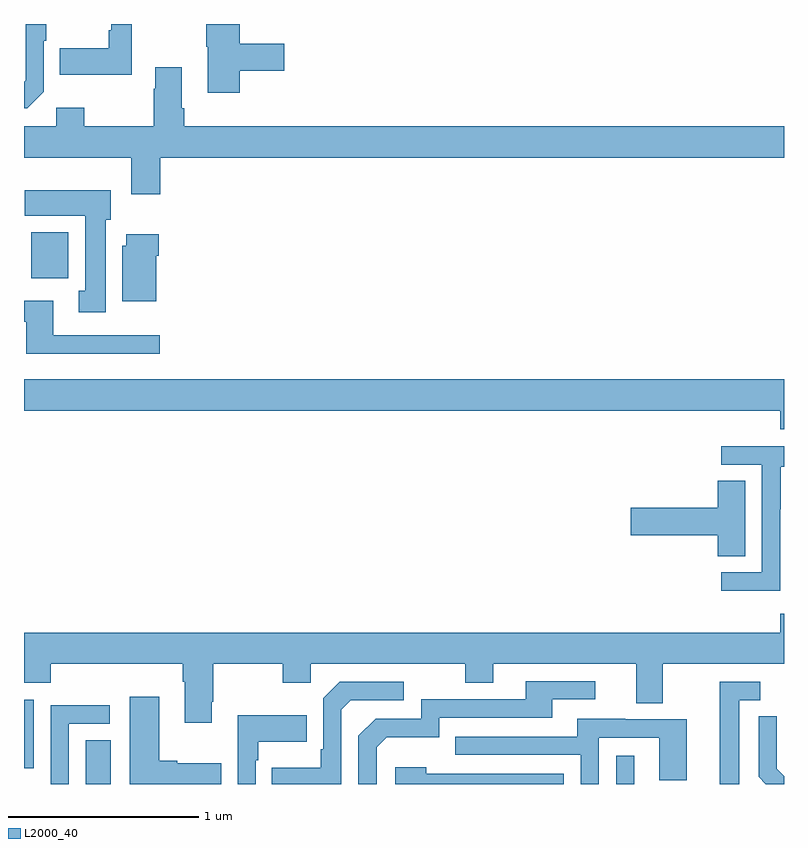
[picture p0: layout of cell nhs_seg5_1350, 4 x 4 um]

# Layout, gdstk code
import gdstk
lib = gdstk.Library(unit=1e-6, precision=1e-09)
def R(c, l, rs):  # rectangles x0, y0, x1, y1
    for r in rs: c.add(gdstk.rectangle(r[:2], r[2:], *l))
def P(c, l, *ps):  # polygons
    for p in ps: c.add(gdstk.Polygon(p, *l))
L2000_40 = (2000, 40)

nhs_seg5_1350 = lib.new_cell('nhs_seg5_1350')
R(nhs_seg5_1350, L2000_40, [(193.325,850.799,193.456,851.03), (196.116,850.799,196.213,850.948), (193,850.881,193.051,851.242), (193.037,853.46,193.234,853.702)])
P(nhs_seg5_1350, L2000_40, [(193.104,854.442),(193.104,854.711),(193.117,854.711),(193.117,854.799),(193.008,854.799),(193.008,854.502),(193,854.494),(193,854.355),(193.017,854.355)],
  [(193.567,854.799),(193.458,854.799),(193.458,854.767),(193.446,854.767),(193.446,854.671),(193.189,854.671),(193.189,854.531),(193.567,854.531)],
  [(194.135,854.554),(194.371,854.554),(194.371,854.696),(194.135,854.696),(194.135,854.799),(193.96,854.799),(193.96,854.679),(193.967,854.679),(193.967,854.436),(194.135,854.436)],
  [(193.718,854.096),(197,854.096),(197,854.26),(193.844,854.26),(193.844,854.356),(193.831,854.356),(193.831,854.572),(193.691,854.572),(193.691,854.459),(193.684,854.459),(193.684,854.26),(193.317,854.26),(193.317,854.359),(193.17,854.359),(193.17,854.26),(193,854.26),(193,854.096),(193.565,854.096),(193.565,853.902),(193.718,853.902)],
  [(193.429,853.77),(193.456,853.77),(193.456,853.924),(193.005,853.924),(193.005,853.79),(193.322,853.79),(193.322,853.394),(193.289,853.394),(193.289,853.281),(193.429,853.281)],
  [(193.696,853.58),(193.709,853.58),(193.709,853.693),(193.538,853.693),(193.538,853.632),(193.517,853.632),(193.517,853.34),(193.696,853.34)],
  [(193.714,853.161),(193.153,853.161),(193.153,853.342),(193,853.342),(193,853.233),(193.013,853.233),(193.013,853.064),(193.714,853.064)],
  [(197,852.928),(193,852.928),(193,852.764),(196.979,852.764),(196.979,852.665),(197,852.665)],
  [(196.98,852.244),(196.983,852.244),(196.983,852.468),(197,852.468),(197,852.576),(196.671,852.576),(196.671,852.48),(196.884,852.48),(196.884,851.913),(196.671,851.913),(196.671,851.815),(196.98,851.815)],
  [(196.795,852.395),(196.652,852.395),(196.652,852.254),(196.194,852.254),(196.194,852.107),(196.652,852.107),(196.652,851.998),(196.795,851.998)],
  [(193.987,851.233),(193.995,851.233),(193.995,851.432),(194.362,851.432),(194.362,851.333),(194.508,851.333),(194.508,851.432),(195.322,851.432),(195.322,851.333),(195.469,851.333),(195.469,851.432),(196.223,851.432),(196.223,851.224),(196.363,851.224),(196.363,851.432),(197,851.432),(197,851.695),(196.979,851.695),(196.979,851.596),(193,851.596),(193,851.333),(193.142,851.333),(193.142,851.432),(193.835,851.432),(193.835,851.336),(193.847,851.336),(193.847,851.121),(193.987,851.121)],
  [(194.856,850.992),(194.909,851.045),(195.186,851.045),(195.186,851.148),(195.781,851.148),(195.781,851.244),(196.006,851.244),(196.006,851.34),(195.641,851.34),(195.641,851.244),(195.09,851.244),(195.09,851.142),(194.85,851.142),(194.76,851.052),(194.76,850.799),(194.856,850.799)],
  [(196.765,851.241),(196.876,851.241),(196.876,851.337),(196.661,851.337),(196.661,850.799),(196.765,850.799)],
  [(194.67,851.19),(194.721,851.241),(194.998,851.241),(194.998,851.337),(194.661,851.337),(194.574,851.25),(194.574,850.981),(194.562,850.981),(194.562,850.885),(194.305,850.885),(194.305,850.799),(194.67,850.799)],
  [(194.038,850.909),(193.807,850.909),(193.807,850.922),(193.711,850.922),(193.711,851.257),(193.556,851.257),(193.556,850.799),(194.038,850.799)],
  [(193.236,851.115),(193.45,851.115),(193.45,851.214),(193.14,851.214),(193.14,850.799),(193.236,850.799)],
  [(194.22,850.925),(194.233,850.925),(194.233,851.021),(194.489,851.021),(194.489,851.161),(194.124,851.161),(194.124,850.799),(194.22,850.799)],
  [(197,850.84),(196.961,850.88),(196.961,851.002),(196.962,851.002),(196.962,851.156),(196.866,851.156),(196.866,850.838),(196.905,850.799),(197,850.799)],
  [(196.026,851.043),(196.344,851.043),(196.344,850.819),(196.489,850.819),(196.489,851.139),(196.165,851.139),(196.165,851.143),(195.911,851.143),(195.911,851.049),(195.271,851.049),(195.271,850.953),(195.93,850.953),(195.93,850.799),(196.026,850.799)],
  [(195.84,850.854),(195.116,850.854),(195.116,850.888),(194.955,850.888),(194.955,850.799),(195.84,850.799)])

lib.write_gds('nhs_seg5_1350.gds')
